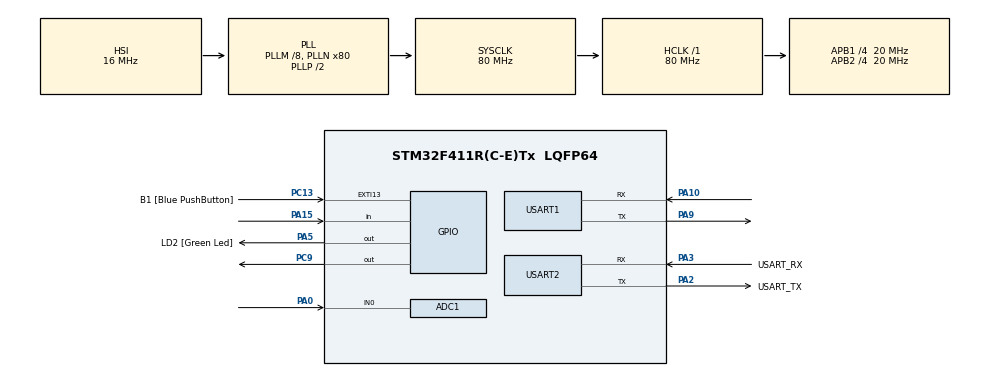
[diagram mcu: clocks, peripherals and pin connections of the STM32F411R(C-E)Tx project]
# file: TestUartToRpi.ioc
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ADC1.Channel-0\#ChannelRegularConversion=ADC_CHANNEL_0
ADC1.ClockPrescaler=ADC_CLOCK_SYNC_PCLK_DIV8
ADC1.ContinuousConvMode=ENABLE
ADC1.EOCSelection=ADC_EOC_SEQ_CONV
ADC1.InjNumberOfConversion=0
ADC1.NbrOfConversion=1
ADC1.NbrOfConversionFlag=1
ADC1.Rank-0\#ChannelRegularConversion=1
ADC1.Resolution=ADC_RESOLUTION_10B
ADC1.SamplingTime-0\#ChannelRegularConversion=ADC_SAMPLETIME_3CYCLES
ADC1.ScanConvMode=ENABLE
ADC1.master=1
Dma.Request0=USART2_RX
Dma.USART2_RX.0.Direction=DMA_PERIPH_TO_MEMORY
Dma.USART2_RX.0.FIFOMode=DMA_FIFOMODE_DISABLE
Dma.USART2_RX.0.Instance=DMA1_Stream5
Dma.USART2_RX.0.MemDataAlignment=DMA_MDATAALIGN_BYTE
Dma.USART2_RX.0.MemInc=DMA_MINC_ENABLE
Dma.USART2_RX.0.Mode=DMA_CIRCULAR
Dma.USART2_RX.0.PeriphDataAlignment=DMA_PDATAALIGN_BYTE
Dma.USART2_RX.0.PeriphInc=DMA_PINC_DISABLE
Dma.USART2_RX.0.Priority=DMA_PRIORITY_HIGH
Mcu.Family=STM32F4
Mcu.Name=STM32F411R(C-E)Tx
Mcu.Package=LQFP64
NVIC.ADC_IRQn=true\:0\:0\:false\:false\:true\:true\:true
NVIC.DMA1_Stream5_IRQn=true\:0\:0\:false\:false\:true\:false\:true
NVIC.PriorityGroup=NVIC_PRIORITYGROUP_0
NVIC.TIM1_UP_TIM10_IRQn=true\:0\:0\:false\:false\:true\:true\:true
NVIC.TIM3_IRQn=true\:0\:0\:false\:false\:true\:true\:true
NVIC.USART2_IRQn=true\:0\:0\:false\:false\:true\:true\:true
PA0-WKUP.Signal=ADCx_IN0
PA10.Mode=Asynchronous
PA10.Signal=USART1_RX
PA13.GPIO_Label=TMS
PA13.Mode=Serial_Wire
PA13.Signal=SYS_JTMS-SWDIO
PA14.GPIO_Label=TCK
PA14.Mode=Serial_Wire
PA14.Signal=SYS_JTCK-SWCLK
PA15.Signal=GPIO_Input
PA2.GPIO_Label=USART_TX
PA2.Mode=Asynchronous
PA2.Signal=USART2_TX
PA3.GPIO_Label=USART_RX
PA3.Mode=Asynchronous
PA3.Signal=USART2_RX
PA5.GPIO_Label=LD2 [Green Led]
PA5.GPIO_ModeDefaultOutputPP=GPIO_MODE_OUTPUT_OD
PA5.GPIO_PuPd=GPIO_PULLUP
PA5.Signal=GPIO_Output
PA9.Mode=Asynchronous
PA9.Signal=USART1_TX
PB3.GPIO_Label=SWO
PB3.Signal=SYS_JTDO-SWO
PC13-ANTI_TAMP.GPIO_Label=B1 [Blue PushButton]
PC13-ANTI_TAMP.GPIO_ModeDefaultEXTI=GPIO_MODE_IT_FALLING
PC13-ANTI_TAMP.Signal=GPXTI13
PC14-OSC32_IN.Mode=LSE-External-Oscillator
PC14-OSC32_IN.Signal=RCC_OSC32_IN
PC15-OSC32_OUT.Mode=LSE-External-Oscillator
PC15-OSC32_OUT.Signal=RCC_OSC32_OUT
PC9.GPIO_ModeDefaultOutputPP=GPIO_MODE_OUTPUT_OD
PC9.GPIO_PuPd=GPIO_PULLUP
PC9.PinState=GPIO_PIN_SET
PC9.Signal=GPIO_Output
PH0\ -\ OSC_IN.Mode=HSE-External-Clock-Source
PH0\ -\ OSC_IN.Signal=RCC_OSC_IN
PH1\ -\ OSC_OUT.Mode=HSE-External-Clock-Source
PH1\ -\ OSC_OUT.Signal=RCC_OSC_OUT
ProjectManager.HeapSize=0x200
ProjectManager.StackSize=0x400
ProjectManager.TargetToolchain=STM32CubeIDE
RCC.48MHZClocksFreq_Value=40000000
RCC.AHBFreq_Value=80000000
RCC.APB1CLKDivider=RCC_HCLK_DIV4
RCC.APB1Freq_Value=20000000
RCC.APB1TimFreq_Value=40000000
RCC.APB2CLKDivider=RCC_HCLK_DIV4
RCC.APB2Freq_Value=20000000
RCC.APB2TimFreq_Value=40000000
RCC.CortexFreq_Value=80000000
RCC.FLatency-AdvancedSettings=FLASH_LATENCY_2
RCC.HCLKFreq_Value=80000000
RCC.HSE_VALUE=8000000
RCC.HSI_VALUE=16000000
RCC.PLLM=8
RCC.PLLN=80
RCC.SYSCLKFreq_VALUE=80000000
RCC.SYSCLKSource=RCC_SYSCLKSOURCE_PLLCLK
RCC.VCOOutputFreq_Value=160000000
SH.ADCx_IN0.0=ADC1_IN0,IN0
TIM1.Prescaler=40000 - 1
TIM3.Period=1000
TIM3.Prescaler=40000 - 1
USART1.VirtualMode=VM_ASYNC
USART2.VirtualMode=VM_ASYNC
VP_TIM1_VS_ClockSourceINT.Mode=Internal
VP_TIM3_VS_ClockSourceINT.Mode=Internal
board=NUCLEO-F411RE

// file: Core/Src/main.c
/* USER CODE BEGIN Header */
/**
  ******************************************************************************
  * @file           : main.c
  * @brief          : Main program body
  ******************************************************************************
  * @attention
  *
  * <h2><center>&copy; Copyright (c) 2020 STMicroelectronics.
  * All rights reserved.</center></h2>
  *
  * This software component is licensed by ST under BSD 3-Clause license,
  * the "License"; You may not use this file except in compliance with the
  * License. You may obtain a copy of the License at:
  *                        opensource.org/licenses/BSD-3-Clause
  *
  ******************************************************************************
  */
/* USER CODE END Header */
#include "main.h"

ADC_HandleTypeDef hadc1;

TIM_HandleTypeDef htim1;
TIM_HandleTypeDef htim3;

UART_HandleTypeDef huart1;
UART_HandleTypeDef huart2;
DMA_HandleTypeDef hdma_usart2_rx;

void SystemClock_Config(void);
static void MX_GPIO_Init(void);
static void MX_DMA_Init(void);
static void MX_USART2_UART_Init(void);
static void MX_ADC1_Init(void);
static void MX_TIM1_Init(void);
static void MX_USART1_UART_Init(void);
static void MX_TIM3_Init(void);

/* USER CODE BEGIN 0 */

const int uart2_buff_size = 10;
char UART2_rxBuffer[10];
typedef struct
{
	uint8_t inTemperature;
	uint8_t inHumidity;
	uint8_t outTemperature;
	uint8_t outHumidity;
	uint8_t soilMoisure;

	uint8_t fanState;
	uint8_t lightState;
	uint8_t pumpState;

}Uart2Value;

void cpyTo(char * from , char * to) {
	int lengthFrom = uart2_buff_size;
	int lengthTo = uart2_buff_size;
	int minlen = lengthFrom > lengthTo ? lengthTo : lengthFrom;

	for (int i = 0 ; i < minlen ; i++) {
		to[i] = from[i];
	}
}

//uint8_t checkCorrectness( char* data , int from , int to) {
//	if (to - from + 1 != 18) return 0;
//	if (data[from%uart2_buff_size] != 'S') return 0;
//	if (data[to%uart2_buff_size] != 'E') return 0;
//	// iN temp , in hum , out temp , out hum , adc // first 5 bytes
//	from++;
//	for (int i = 0 ; i < 5 ; i++) {
//		if (data[(from + i)%uart2_buff_size ] + data[(from + 8 + i)%uart2_buff_size] != 127) { // change 127 to 255
//			return 0;
//		}
//	}
//	// fan pump light
//	for (int i = 5 ; i < 8 ; i++ ) {
//		if ((data[(from + i)%uart2_buff_size] - '0') + (data[(from + 8 + i)%uart2_buff_size] - '0') != 3) {
//			return 0;
//		}
//	}
//
//	return 1;
//
//}

uint8_t checkCorrectness( char* data , int from , int to) {
	if (to - from + 1 != 8) return 0;
	if (data[from%uart2_buff_size] != 'S') return 0;
	if (data[to%uart2_buff_size] != 'E') return 0;
	// iN temp , in hum , out temp , out hum , adc // first 5 bytes
	from++;
	// fan pump light
	for (int i = 0 ; i < 3 ; i++ ) {
		if ((data[(from + i)%uart2_buff_size] - '0') + (data[(from + 3 + i)%uart2_buff_size] - '0') != 3) {
			return 0;
		}
	}

	return 1;

}

uint8_t getStateFromUART2(Uart2Value * values) {
	char UART2_tmpBuffer[uart2_buff_size];
	cpyTo(UART2_rxBuffer , UART2_tmpBuffer);

	int startPtr = 0;
	int endPtr = 0;

	int ansStPtr = -1;
	int ansEndPtr = -1;

	int packetLength = 8; // Fixed length
	for (int i = 0 ; i < (uart2_buff_size << 1) ; i++ ) {
		int idx = i % uart2_buff_size;
		if (UART2_tmpBuffer[idx] == 'S') {
			// Start from here
			startPtr = i;
			continue;
		}
		if (UART2_tmpBuffer[idx] == 'E') {
			endPtr = i;

			if ( checkCorrectness(UART2_tmpBuffer,startPtr , endPtr) ) {
				ansStPtr = startPtr;
				ansEndPtr = endPtr;
			}
			continue;
		}
	}

	//uint8_t inTemperature , inHumidity , outTemperature , outHumidity , soilMoisure ;

	//Uart2Value values;
//	values.inTemperature 	= UART2_tmpBuffer[ansStPtr+1];
//	values.inHumidity 		= UART2_tmpBuffer[ansStPtr+2];
//	values.outTemperature	= UART2_tmpBuffer[ansStPtr+3];
//	values.outHumidity 		= UART2_tmpBuffer[ansStPtr+4];
//	values.soilMoisure		= UART2_tmpBuffer[ansStPtr+5];
	if (ansStPtr == -1) return 0;
	values->fanState		= UART2_tmpBuffer[(ansStPtr+1)%uart2_buff_size] - '0';
	values->pumpState		= UART2_tmpBuffer[(ansStPtr+2)%uart2_buff_size] - '0';
	values->lightState		= UART2_tmpBuffer[(ansStPtr+3)%uart2_buff_size] - '0';

	return 1;

}

void sendValueUART2(Uart2Value values) {
	char txBuffer[18];
	txBuffer[0] = 'S';

	// Data
	txBuffer[1] = values.inTemperature;
	txBuffer[2] = values.inHumidity;
	txBuffer[3] = values.outTemperature;
	txBuffer[4] = values.outHumidity;
	txBuffer[5] = values.soilMoisure;

	txBuffer[6] = values.fanState + '0';
	txBuffer[7] = values.pumpState + '0';
	txBuffer[8] = values.lightState + '0';

	// checkBit
	uint8_t mxValInt = 255;
	uint8_t mxValState = 3;

	txBuffer[9]  = mxValInt - txBuffer[1];
	txBuffer[10] = mxValInt - txBuffer[2];
	txBuffer[11] = mxValInt - txBuffer[3];
	txBuffer[12] = mxValInt - txBuffer[4];
	txBuffer[13] = mxValInt - txBuffer[5];

	txBuffer[14] = ('3' - txBuffer[6]) + '0';
	txBuffer[15] = ('3' - txBuffer[7]) + '0';
	txBuffer[16] = ('3' - txBuffer[8]) + '0';

	txBuffer[17] = 'E';

	HAL_UART_Transmit(&huart2,&txBuffer,18,100);

	char endLine[1];
	endLine[0] = '\n';
	HAL_UART_Transmit(&huart2,endLine,1,100);
}

/* USER CODE END 0 */

int main(void)
{

  /* MCU Configuration--------------------------------------------------------*/

  /* Reset of all peripherals, Initializes the Flash interface and the Systick. */
  HAL_Init();

  /* Configure the system clock */
  SystemClock_Config();

  /* Initialize all configured peripherals */
  MX_GPIO_Init();
  MX_DMA_Init();
  MX_USART2_UART_Init();
  MX_ADC1_Init();
  MX_TIM1_Init();
  MX_USART1_UART_Init();
  MX_TIM3_Init();
  /* USER CODE BEGIN 2 */
  HAL_UART_Receive_DMA (&huart2, UART2_rxBuffer, uart2_buff_size);
  /* USER CODE END 2 */

  /* Infinite loop */
  while (1)
  {
//S0O0O0121O0O0O212E
    /* USER CODE BEGIN 3 */
	  Uart2Value val;
	  if (getStateFromUART2(&val)) {
		  sendValueUART2(val);
	  }
	  //int x = 2;
  }
  /* USER CODE END 3 */
}

void SystemClock_Config(void)
{
  RCC_OscInitTypeDef RCC_OscInitStruct = {0};
  RCC_ClkInitTypeDef RCC_ClkInitStruct = {0};

  /** Configure the main internal regulator output voltage
  */
  __HAL_RCC_PWR_CLK_ENABLE();
  __HAL_PWR_VOLTAGESCALING_CONFIG(PWR_REGULATOR_VOLTAGE_SCALE1);
  /** Initializes the RCC Oscillators according to the specified parameters
  * in the RCC_OscInitTypeDef structure.
  */
  RCC_OscInitStruct.OscillatorType = RCC_OSCILLATORTYPE_HSI;
  RCC_OscInitStruct.HSIState = RCC_HSI_ON;
  RCC_OscInitStruct.HSICalibrationValue = RCC_HSICALIBRATION_DEFAULT;
  RCC_OscInitStruct.PLL.PLLState = RCC_PLL_ON;
  RCC_OscInitStruct.PLL.PLLSource = RCC_PLLSOURCE_HSI;
  RCC_OscInitStruct.PLL.PLLM = 8;
  RCC_OscInitStruct.PLL.PLLN = 80;
  RCC_OscInitStruct.PLL.PLLP = RCC_PLLP_DIV2;
  RCC_OscInitStruct.PLL.PLLQ = 4;
  if (HAL_RCC_OscConfig(&RCC_OscInitStruct) != HAL_OK)
  {
    Error_Handler();
  }
  /** Initializes the CPU, AHB and APB buses clocks
  */
  RCC_ClkInitStruct.ClockType = RCC_CLOCKTYPE_HCLK|RCC_CLOCKTYPE_SYSCLK
                              |RCC_CLOCKTYPE_PCLK1|RCC_CLOCKTYPE_PCLK2;
  RCC_ClkInitStruct.SYSCLKSource = RCC_SYSCLKSOURCE_PLLCLK;
  RCC_ClkInitStruct.AHBCLKDivider = RCC_SYSCLK_DIV1;
  RCC_ClkInitStruct.APB1CLKDivider = RCC_HCLK_DIV4;
  RCC_ClkInitStruct.APB2CLKDivider = RCC_HCLK_DIV4;

  if (HAL_RCC_ClockConfig(&RCC_ClkInitStruct, FLASH_LATENCY_2) != HAL_OK)
  {
    Error_Handler();
  }
}

static void MX_ADC1_Init(void)
{

  ADC_ChannelConfTypeDef sConfig = {0};

  /** Configure the global features of the ADC (Clock, Resolution, Data Alignment and number of conversion)
  */
  hadc1.Instance = ADC1;
  hadc1.Init.ClockPrescaler = ADC_CLOCK_SYNC_PCLK_DIV8;
  hadc1.Init.Resolution = ADC_RESOLUTION_10B;
  hadc1.Init.ScanConvMode = ENABLE;
  hadc1.Init.ContinuousConvMode = ENABLE;
  hadc1.Init.DiscontinuousConvMode = DISABLE;
  hadc1.Init.ExternalTrigConvEdge = ADC_EXTERNALTRIGCONVEDGE_NONE;
  hadc1.Init.ExternalTrigConv = ADC_SOFTWARE_START;
  hadc1.Init.DataAlign = ADC_DATAALIGN_RIGHT;
  hadc1.Init.NbrOfConversion = 1;
  hadc1.Init.DMAContinuousRequests = DISABLE;
  hadc1.Init.EOCSelection = ADC_EOC_SEQ_CONV;
  if (HAL_ADC_Init(&hadc1) != HAL_OK)
  {
    Error_Handler();
  }
  /** Configure for the selected ADC regular channel its corresponding rank in the sequencer and its sample time.
  */
  sConfig.Channel = ADC_CHANNEL_0;
  sConfig.Rank = 1;
  sConfig.SamplingTime = ADC_SAMPLETIME_3CYCLES;
  if (HAL_ADC_ConfigChannel(&hadc1, &sConfig) != HAL_OK)
  {
    Error_Handler();
  }

}

static void MX_TIM1_Init(void)
{

  TIM_ClockConfigTypeDef sClockSourceConfig = {0};
  TIM_MasterConfigTypeDef sMasterConfig = {0};

  htim1.Instance = TIM1;
  htim1.Init.Prescaler = 40000 - 1;
  htim1.Init.CounterMode = TIM_COUNTERMODE_UP;
  htim1.Init.Period = 65535;
  htim1.Init.ClockDivision = TIM_CLOCKDIVISION_DIV1;
  htim1.Init.RepetitionCounter = 0;
  htim1.Init.AutoReloadPreload = TIM_AUTORELOAD_PRELOAD_DISABLE;
  if (HAL_TIM_Base_Init(&htim1) != HAL_OK)
  {
    Error_Handler();
  }
  sClockSourceConfig.ClockSource = TIM_CLOCKSOURCE_INTERNAL;
  if (HAL_TIM_ConfigClockSource(&htim1, &sClockSourceConfig) != HAL_OK)
  {
    Error_Handler();
  }
  sMasterConfig.MasterOutputTrigger = TIM_TRGO_RESET;
  sMasterConfig.MasterSlaveMode = TIM_MASTERSLAVEMODE_DISABLE;
  if (HAL_TIMEx_MasterConfigSynchronization(&htim1, &sMasterConfig) != HAL_OK)
  {
    Error_Handler();
  }

}

static void MX_TIM3_Init(void)
{

  TIM_ClockConfigTypeDef sClockSourceConfig = {0};
  TIM_MasterConfigTypeDef sMasterConfig = {0};

  htim3.Instance = TIM3;
  htim3.Init.Prescaler = 40000 - 1;
  htim3.Init.CounterMode = TIM_COUNTERMODE_UP;
  htim3.Init.Period = 1000;
  htim3.Init.ClockDivision = TIM_CLOCKDIVISION_DIV1;
  htim3.Init.AutoReloadPreload = TIM_AUTORELOAD_PRELOAD_DISABLE;
  if (HAL_TIM_Base_Init(&htim3) != HAL_OK)
  {
    Error_Handler();
  }
  sClockSourceConfig.ClockSource = TIM_CLOCKSOURCE_INTERNAL;
  if (HAL_TIM_ConfigClockSource(&htim3, &sClockSourceConfig) != HAL_OK)
  {
    Error_Handler();
  }
  sMasterConfig.MasterOutputTrigger = TIM_TRGO_RESET;
  sMasterConfig.MasterSlaveMode = TIM_MASTERSLAVEMODE_DISABLE;
  if (HAL_TIMEx_MasterConfigSynchronization(&htim3, &sMasterConfig) != HAL_OK)
  {
    Error_Handler();
  }

}

static void MX_USART1_UART_Init(void)
{

  huart1.Instance = USART1;
  huart1.Init.BaudRate = 115200;
  huart1.Init.WordLength = UART_WORDLENGTH_8B;
  huart1.Init.StopBits = UART_STOPBITS_1;
  huart1.Init.Parity = UART_PARITY_NONE;
  huart1.Init.Mode = UART_MODE_TX_RX;
  huart1.Init.HwFlowCtl = UART_HWCONTROL_NONE;
  huart1.Init.OverSampling = UART_OVERSAMPLING_16;
  if (HAL_UART_Init(&huart1) != HAL_OK)
  {
    Error_Handler();
  }

}

static void MX_USART2_UART_Init(void)
{

  huart2.Instance = USART2;
  huart2.Init.BaudRate = 115200;
  huart2.Init.WordLength = UART_WORDLENGTH_8B;
  huart2.Init.StopBits = UART_STOPBITS_1;
  huart2.Init.Parity = UART_PARITY_NONE;
  huart2.Init.Mode = UART_MODE_TX_RX;
  huart2.Init.HwFlowCtl = UART_HWCONTROL_NONE;
  huart2.Init.OverSampling = UART_OVERSAMPLING_16;
  if (HAL_UART_Init(&huart2) != HAL_OK)
  {
    Error_Handler();
  }

}

static void MX_DMA_Init(void)
{

  /* DMA controller clock enable */
  __HAL_RCC_DMA1_CLK_ENABLE();

  /* DMA interrupt init */
  /* DMA1_Stream5_IRQn interrupt configuration */
  HAL_NVIC_SetPriority(DMA1_Stream5_IRQn, 0, 0);
  HAL_NVIC_EnableIRQ(DMA1_Stream5_IRQn);

}

static void MX_GPIO_Init(void)
{
  GPIO_InitTypeDef GPIO_InitStruct = {0};

  /* GPIO Ports Clock Enable */
  __HAL_RCC_GPIOC_CLK_ENABLE();
  __HAL_RCC_GPIOH_CLK_ENABLE();
  __HAL_RCC_GPIOA_CLK_ENABLE();
  __HAL_RCC_GPIOB_CLK_ENABLE();

  /*Configure GPIO pin Output Level */
  HAL_GPIO_WritePin(LD2_GPIO_Port, LD2_Pin, GPIO_PIN_RESET);

  /*Configure GPIO pin Output Level */
  HAL_GPIO_WritePin(GPIOC, GPIO_PIN_9, GPIO_PIN_SET);

  /*Configure GPIO pin : B1_Pin */
  GPIO_InitStruct.Pin = B1_Pin;
  GPIO_InitStruct.Mode = GPIO_MODE_IT_FALLING;
  GPIO_InitStruct.Pull = GPIO_NOPULL;
  HAL_GPIO_Init(B1_GPIO_Port, &GPIO_InitStruct);

  /*Configure GPIO pin : LD2_Pin */
  GPIO_InitStruct.Pin = LD2_Pin;
  GPIO_InitStruct.Mode = GPIO_MODE_OUTPUT_OD;
  GPIO_InitStruct.Pull = GPIO_PULLUP;
  GPIO_InitStruct.Speed = GPIO_SPEED_FREQ_LOW;
  HAL_GPIO_Init(LD2_GPIO_Port, &GPIO_InitStruct);

  /*Configure GPIO pin : PC9 */
  GPIO_InitStruct.Pin = GPIO_PIN_9;
  GPIO_InitStruct.Mode = GPIO_MODE_OUTPUT_OD;
  GPIO_InitStruct.Pull = GPIO_PULLUP;
  GPIO_InitStruct.Speed = GPIO_SPEED_FREQ_LOW;
  HAL_GPIO_Init(GPIOC, &GPIO_InitStruct);

  /*Configure GPIO pin : PA15 */
  GPIO_InitStruct.Pin = GPIO_PIN_15;
  GPIO_InitStruct.Mode = GPIO_MODE_INPUT;
  GPIO_InitStruct.Pull = GPIO_NOPULL;
  HAL_GPIO_Init(GPIOA, &GPIO_InitStruct);

}

void Error_Handler(void)
{
  __disable_irq();
  while (1)
  {
  }
}

/************************ (C) COPYRIGHT STMicroelectronics *****END OF FILE****/
